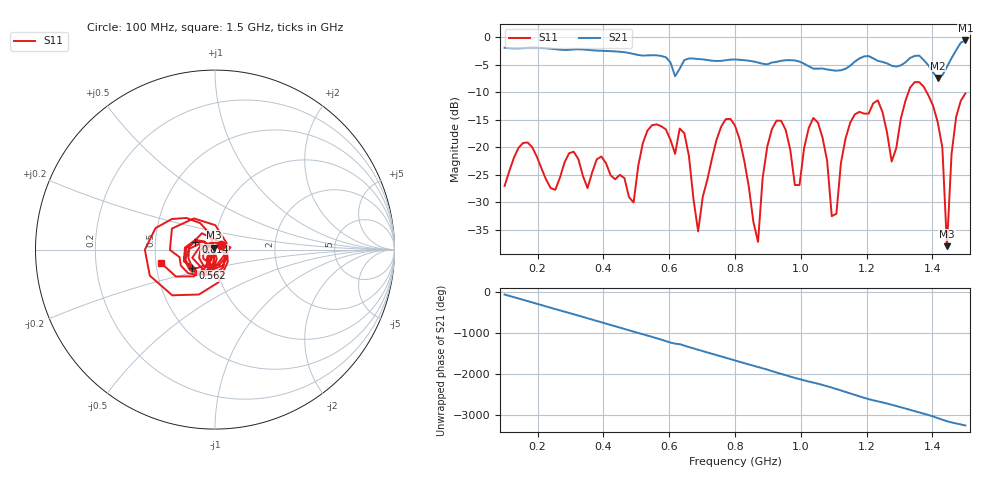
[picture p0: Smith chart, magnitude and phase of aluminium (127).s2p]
! NanoVNA-App
! Date: 2025-09-25 14:56:16
! Start: 100MHz Stop: 1,5GHz Points: 101
! S-Parameter data: F S11 S21 S12 S22
# Hz S RI R 50
!  Frequency  S11_Real  S11_Imag  S21_Real  S21_Imag  S12_Real  S12_Imag  S22_Real  S22_Imag
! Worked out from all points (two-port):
!   101 points, 100 MHz to 1.5 GHz, reference 50 ohm
!   highest |S21| = -0.59 dB at 1.5 GHz (marker M1); lowest = -7.4 dB at 1.416 GHz (marker M2)
!   |S21| within 3 dB of the highest: start of sweep to 587.2 MHz; 1.46 GHz to end of sweep (the widest 2 of 4)
!   lowest |S11| = -37.9 dB at 1.444 GHz (marker M3), VSWR 1.03, Z = 49.5 + j1.15 ohm
!   |S11| at or under -10 dB: start of sweep to 1.327 GHz; 1.383 GHz to end of sweep
!   S12 and S22 are empty: the file has one direction only
!   S11 on the Smith chart (normalised r, x): 100 MHz: 1.07, +0.06; 562 MHz: 0.76, -0.16; 814 MHz: 0.80, +0.07; 1.5 GHz: 0.53, -0.09
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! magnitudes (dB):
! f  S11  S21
! 100 MHz  -27.0  -1.9
! 338 MHz  -25.2  -2.2
! 492 MHz  -30.0  -3.0
! 562 MHz  -15.8  -3.3
! 576 MHz  -16.2  -3.4
! 646 MHz  -17.4  -4.2
! 688 MHz  -35.3  -4.0
! 800 MHz  -16.0  -4.0
! 814 MHz  -18.5  -4.1
! 870 MHz  -37.2  -4.6
! 912 MHz  -16.7  -4.6
! 996 MHz  -26.8  -4.4
! 1.038 GHz  -14.7  -5.7
! 1.094 GHz  -32.5  -6.0
! 1.164 GHz  -14.0  -4.4
! 1.234 GHz  -11.5  -4.3
! 1.276 GHz  -22.6  -5.2
! 1.346 GHz  -8.2  -3.4
! 1.416 GHz  -15.5  -7.4
! 1.444 GHz  -37.9  -5.4
! 1.458 GHz  -21.2  -3.8
! 1.5 GHz  -10.2  -0.6
